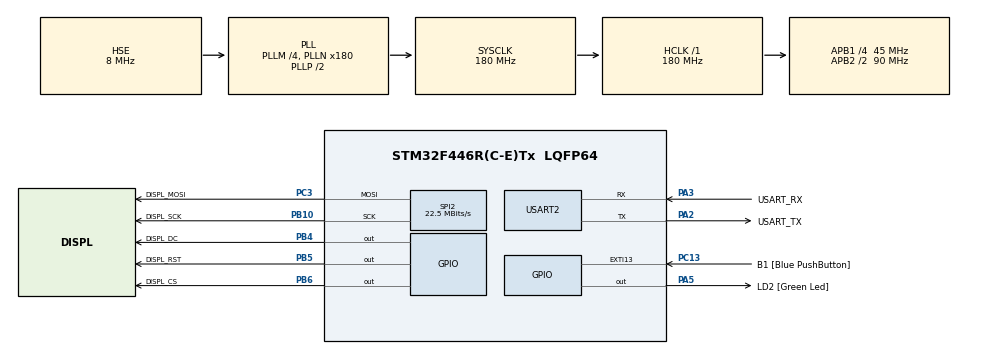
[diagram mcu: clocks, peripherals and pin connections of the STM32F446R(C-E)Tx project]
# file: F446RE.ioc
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Dma.Request0=SPI2_TX
Dma.SPI2_TX.0.Direction=DMA_MEMORY_TO_PERIPH
Dma.SPI2_TX.0.FIFOMode=DMA_FIFOMODE_DISABLE
Dma.SPI2_TX.0.Instance=DMA1_Stream4
Dma.SPI2_TX.0.MemDataAlignment=DMA_MDATAALIGN_BYTE
Dma.SPI2_TX.0.MemInc=DMA_MINC_ENABLE
Dma.SPI2_TX.0.Mode=DMA_NORMAL
Dma.SPI2_TX.0.PeriphDataAlignment=DMA_PDATAALIGN_BYTE
Dma.SPI2_TX.0.PeriphInc=DMA_PINC_DISABLE
Dma.SPI2_TX.0.Priority=DMA_PRIORITY_LOW
Mcu.Family=STM32F4
Mcu.Name=STM32F446R(C-E)Tx
Mcu.Package=LQFP64
NVIC.DMA1_Stream4_IRQn=true\:0\:0\:false\:false\:true\:false\:true\:true
NVIC.PriorityGroup=NVIC_PRIORITYGROUP_0
NVIC.SPI2_IRQn=true\:0\:0\:false\:false\:true\:true\:true\:true
PA13.GPIO_Label=TMS
PA13.Mode=Serial_Wire
PA13.Signal=SYS_JTMS-SWDIO
PA14.GPIO_Label=TCK
PA14.Mode=Serial_Wire
PA14.Signal=SYS_JTCK-SWCLK
PA2.GPIO_Label=USART_TX
PA2.Mode=Asynchronous
PA2.Signal=USART2_TX
PA3.GPIO_Label=USART_RX
PA3.Mode=Asynchronous
PA3.Signal=USART2_RX
PA5.GPIO_Label=LD2 [Green Led]
PA5.Signal=GPIO_Output
PB10.GPIO_Label=DISPL_SCK
PB10.Mode=TX_Only_Simplex_Unidirect_Master
PB10.Signal=SPI2_SCK
PB3.GPIO_Label=SWO
PB3.Signal=SYS_JTDO-SWO
PB4.GPIO_Label=DISPL_DC
PB4.GPIO_Speed=GPIO_SPEED_FREQ_VERY_HIGH
PB4.PinState=GPIO_PIN_SET
PB4.Signal=GPIO_Output
PB5.GPIO_Label=DISPL_RST
PB5.PinState=GPIO_PIN_SET
PB5.Signal=GPIO_Output
PB6.GPIO_Label=DISPL_CS
PB6.GPIO_Speed=GPIO_SPEED_FREQ_VERY_HIGH
PB6.Signal=GPIO_Output
PC13.GPIO_Label=B1 [Blue PushButton]
PC13.GPIO_ModeDefaultEXTI=GPIO_MODE_IT_FALLING
PC13.Signal=GPXTI13
PC14-OSC32_IN.Signal=RCC_OSC32_IN
PC15-OSC32_OUT.Signal=RCC_OSC32_OUT
PC3.GPIO_Label=DISPL_MOSI
PC3.Mode=TX_Only_Simplex_Unidirect_Master
PC3.Signal=SPI2_MOSI
PH0-OSC_IN.Mode=HSE-External-Oscillator
PH0-OSC_IN.Signal=RCC_OSC_IN
PH1-OSC_OUT.Mode=HSE-External-Oscillator
PH1-OSC_OUT.Signal=RCC_OSC_OUT
ProjectManager.HeapSize=0x200
ProjectManager.StackSize=0x400
ProjectManager.TargetToolchain=Makefile
RCC.48MHZClocksFreq_Value=84000000
RCC.AHBFreq_Value=180000000
RCC.APB1CLKDivider=RCC_HCLK_DIV4
RCC.APB1Freq_Value=45000000
RCC.APB1TimFreq_Value=90000000
RCC.APB2CLKDivider=RCC_HCLK_DIV2
RCC.APB2Freq_Value=90000000
RCC.APB2TimFreq_Value=180000000
RCC.CortexFreq_Value=180000000
RCC.FLatency-AdvancedSettings=FLASH_LATENCY_5
RCC.HCLKFreq_Value=180000000
RCC.HSE_VALUE=8000000
RCC.HSI_VALUE=16000000
RCC.PLLM=4
RCC.PLLN=180
RCC.PLLSourceVirtual=RCC_PLLSOURCE_HSE
RCC.SYSCLKFreq_VALUE=180000000
RCC.SYSCLKSource=RCC_SYSCLKSOURCE_PLLCLK
RCC.USBFreq_Value=180000000
RCC.VCOOutputFreq_Value=360000000
SPI2.BaudRatePrescaler=SPI_BAUDRATEPRESCALER_2
SPI2.CalculateBaudRate=22.5 MBits/s
SPI2.Direction=SPI_DIRECTION_2LINES
SPI2.Mode=SPI_MODE_MASTER
SPI2.VirtualType=VM_MASTER
USART2.VirtualMode=VM_ASYNC
board=NUCLEO-F446RE

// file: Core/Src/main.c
/* USER CODE BEGIN Header */
/**
 ******************************************************************************
 * @file           : main.c
 * @brief          : Main program body
 ******************************************************************************
 * @attention
 *
 * Copyright (c) 2024 STMicroelectronics.
 * All rights reserved.
 *
 * This software is licensed under terms that can be found in the LICENSE file
 * in the root directory of this software component.
 * If no LICENSE file comes with this software, it is provided AS-IS.
 *
 ******************************************************************************
 */
/* USER CODE END Header */
#include "main.h"
#include "dma.h"
#include "spi.h"
#include "usart.h"
#include "gpio.h"

/* USER CODE BEGIN Includes */
#include "ili9488.h"
#include "lvgl.h"
#include "log.h"
#include "ui.h"
#include "screen_loader.h"
#include "global_vars.h"
#include "colors.h"
/* USER CODE END Includes */

/* USER CODE BEGIN PD */
#define BYTES_PER_PIXEL (LV_COLOR_FORMAT_GET_SIZE(LV_COLOR_FORMAT_RGB565))
/* USER CODE END PD */

/* USER CODE BEGIN PV */
static uint8_t buf1[VERTICAL_RES * HORIZONTAL_RES * BYTES_PER_PIXEL / 15];
/* USER CODE END PV */

void SystemClock_Config(void);

/* USER CODE BEGIN 0 */
void my_flush_cb(lv_display_t *display, const lv_area_t *area, uint8_t *px_map)
{
    // Inizia a misurare il tempo
    uint32_t start_time = HAL_GetTick();

    // Imposta l'area di disegno
    set_draw_window(area->x1, area->y1, area->x2, area->y2);

    uint32_t width = area->x2 - area->x1 + 1;
    uint32_t height = area->y2 - area->y1 + 1;
    uint32_t pixel_count = width * height;

    // Imposta il pin DC alto per indicare dati
    HAL_GPIO_WritePin(DC_PORT, DC_PIN, GPIO_PIN_SET);

    // Seleziona il display (CS basso)
    HAL_GPIO_WritePin(CS_PORT, CS_PIN, GPIO_PIN_RESET);

    // Trasmette i dati a 24 bit per pixel
    HAL_SPI_Transmit_DMA(&hspi2, px_map, pixel_count * 3);

    // Attende che la trasmissione sia completata
    while (HAL_SPI_GetState(&hspi2) != HAL_SPI_STATE_READY)
        ;

    // Deseleziona il display (CS alto)
    HAL_GPIO_WritePin(CS_PORT, CS_PIN, GPIO_PIN_SET);

    // Segnala a LVGL che il flush è completo
    lv_display_flush_ready(display);

    // Fine misurazione del tempo
    uint32_t end_time = HAL_GetTick();

    // Calcola e invia il tempo tramite UART
    char msg[50];
    sprintf(msg, "Tempo per my_flush_cb: %lu ms\r\n", (end_time - start_time));
    HAL_UART_Transmit(&huart2, (uint8_t *)msg, strlen(msg), HAL_MAX_DELAY);
}

void monitor_memory()
{
  lv_mem_monitor_t mem_monitor;
  lv_mem_monitor(&mem_monitor); // Ottieni i dati sulla memoria

  // Buffer per contenere il messaggio
  char buffer[128];

  // Formatta i dati di memoria
  snprintf(buffer, sizeof(buffer),
           "Memory total: %d bytes\r\n"
           "Memory free: %d bytes\r\n"
           "Memory used: %d bytes\r\n"
           "Memory fragmentation: %d%%\r\n",
           mem_monitor.total_size,
           mem_monitor.free_size,
           mem_monitor.total_size - mem_monitor.free_size,
           mem_monitor.frag_pct);

  // Trasmetti il messaggio su UART
  HAL_UART_Transmit(&huart2, (uint8_t *)buffer, strlen(buffer), HAL_MAX_DELAY);
}
/* USER CODE END 0 */

int main(void)
{

  /* MCU Configuration--------------------------------------------------------*/

  /* Reset of all peripherals, Initializes the Flash interface and the Systick. */
  HAL_Init();

  /* Configure the system clock */
  SystemClock_Config();

  /* Initialize all configured peripherals */
  MX_GPIO_Init();
  MX_DMA_Init();
  MX_USART2_UART_Init();
  MX_SPI2_Init();
  /* USER CODE BEGIN 2 */
  lcd_init_spi();

  lv_init();
  lv_tick_set_cb(HAL_GetTick);
  lv_display_t *display1 = lv_display_create(HORIZONTAL_RES, VERTICAL_RES);
  lv_display_set_buffers(display1, buf1, NULL, sizeof(buf1), LV_DISPLAY_RENDER_MODE_PARTIAL);
  lv_display_set_flush_cb(display1, my_flush_cb);
#if LV_USE_LOG
  lv_log_register_print_cb(lvgl_log_callback);
#endif /*LV_USE_LOG*/

  // ui_init();
  custom_ui_init();

  monitor_memory();

  int i = 0;
  GPIO_PinState last_state = GPIO_PIN_SET;
  GPIO_PinState current_state = GPIO_PIN_SET;
  /* USER CODE END 2 */

  /* Infinite loop */
  /* USER CODE BEGIN WHILE */
  while (1)
  {

    current_state = HAL_GPIO_ReadPin(B1_GPIO_Port, B1_Pin);

    if (last_state == GPIO_PIN_SET && current_state == GPIO_PIN_RESET)
    {
      lv_obj_t *scr_act = lv_scr_act();
      if (scr_act != NULL)
      {
        lv_obj_del(lv_scr_act());
      }

      switch ((i++) % 4)
      {
      case 0:
        create_screen_main();
        lv_scr_load(objects.main);
        lv_label_set_text(objects.lv_bat_voltage_s1, "32.5");
        break;
      case 1:
        create_screen_tires();
        lv_scr_load(objects.tires);
        lv_label_set_text(objects.lv_bat_voltage_s2, "32.5");
        break;
      case 2:
        create_screen_inverters();
        lv_scr_load(objects.inverters);
        lv_label_set_text(objects.lv_bat_voltage_s3, "32.5");
        break;
      case 3:
        create_screen_extra();
        lv_scr_load(objects.extra);
        lv_label_set_text(objects.lv_bat_voltage_s4, "32.5");
        break;
      }

      monitor_memory();
    }

    // Aggiorna lo stato precedente
    last_state = current_state;

    /* USER CODE END WHILE */

    /* USER CODE BEGIN 3 */
    lv_timer_periodic_handler();
  }
  /* USER CODE END 3 */
}

void SystemClock_Config(void)
{
  RCC_OscInitTypeDef RCC_OscInitStruct = {0};
  RCC_ClkInitTypeDef RCC_ClkInitStruct = {0};

  /** Configure the main internal regulator output voltage
  */
  __HAL_RCC_PWR_CLK_ENABLE();
  __HAL_PWR_VOLTAGESCALING_CONFIG(PWR_REGULATOR_VOLTAGE_SCALE1);

  /** Initializes the RCC Oscillators according to the specified parameters
  * in the RCC_OscInitTypeDef structure.
  */
  RCC_OscInitStruct.OscillatorType = RCC_OSCILLATORTYPE_HSE;
  RCC_OscInitStruct.HSEState = RCC_HSE_ON;
  RCC_OscInitStruct.PLL.PLLState = RCC_PLL_ON;
  RCC_OscInitStruct.PLL.PLLSource = RCC_PLLSOURCE_HSE;
  RCC_OscInitStruct.PLL.PLLM = 4;
  RCC_OscInitStruct.PLL.PLLN = 180;
  RCC_OscInitStruct.PLL.PLLP = RCC_PLLP_DIV2;
  RCC_OscInitStruct.PLL.PLLQ = 2;
  RCC_OscInitStruct.PLL.PLLR = 2;
  if (HAL_RCC_OscConfig(&RCC_OscInitStruct) != HAL_OK)
  {
    Error_Handler();
  }

  /** Activate the Over-Drive mode
  */
  if (HAL_PWREx_EnableOverDrive() != HAL_OK)
  {
    Error_Handler();
  }

  /** Initializes the CPU, AHB and APB buses clocks
  */
  RCC_ClkInitStruct.ClockType = RCC_CLOCKTYPE_HCLK|RCC_CLOCKTYPE_SYSCLK
                              |RCC_CLOCKTYPE_PCLK1|RCC_CLOCKTYPE_PCLK2;
  RCC_ClkInitStruct.SYSCLKSource = RCC_SYSCLKSOURCE_PLLCLK;
  RCC_ClkInitStruct.AHBCLKDivider = RCC_SYSCLK_DIV1;
  RCC_ClkInitStruct.APB1CLKDivider = RCC_HCLK_DIV4;
  RCC_ClkInitStruct.APB2CLKDivider = RCC_HCLK_DIV2;

  if (HAL_RCC_ClockConfig(&RCC_ClkInitStruct, FLASH_LATENCY_5) != HAL_OK)
  {
    Error_Handler();
  }
}

void Error_Handler(void)
{
  __disable_irq();
  while (1)
  {
  }
}
